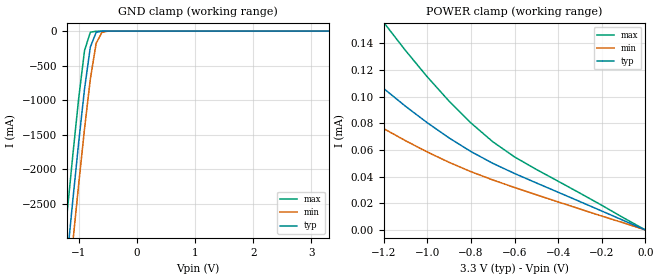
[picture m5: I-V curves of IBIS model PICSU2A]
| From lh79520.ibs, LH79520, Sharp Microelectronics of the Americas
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[Model]   PICSU2A
Model_type Input
Vinh=2.0
Vinl=0.8
C_comp   3.0pF   3.0pF   3.0pF
[Model Spec]
[Temperature Range] 25   85   -40
[Voltage Range]   3.3   3.0   3.6
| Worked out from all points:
|   GND clamp passes 1 mA (typ) near -0.58 V on its own axis
[GND Clamp]
-3.3V     -22.33A    -22.9A     -21.74A
-1.3V     -4.165A    -4.777A    -3.514A
-1.2V     -3.293A    -3.906A    -2.639A
-1.1V     -2.437A    -3.049A    -1.785A
-1V       -1.608A    -2.213A    -971.6mA
-900mV    -838.5mA   -1.415A    -282.8mA
-800mV    -231.2mA   -694.6mA   -16.44mA
-700mV    -18.33mA   -177.3mA   -2.528mA
-600mV    -1.169mA   -18.04mA   -519.3uA
-400mV    -73.23uA   -106.5uA   -102.2uA
3.3V      77.53pA    15.7uA     -25.13uA
[POWER Clamp]
-3.3V     406.2uA    158.1uA    579.2uA
-1.9V     216.2uA    151.8uA    320.3uA
-1.8V     199.3uA    140.1uA    296.4uA
-1.5V     150.5uA    106.3uA    224.3uA
-1.2V     106.1uA    76.04uA    155.7uA
-1.1V     92.8uA     66.97uA    134.6uA
-1V       80.4uA     58.5uA     114.8uA
-900mV    69.02uA    50.72uA    96.61uA
-800mV    58.83uA    43.73uA    80.26uA
-700mV    50uA       37.54uA    66.19uA
-600mV    42.37uA    31.87uA    54.79uA
0V        77.48pA    537.1pA    75.79pA
